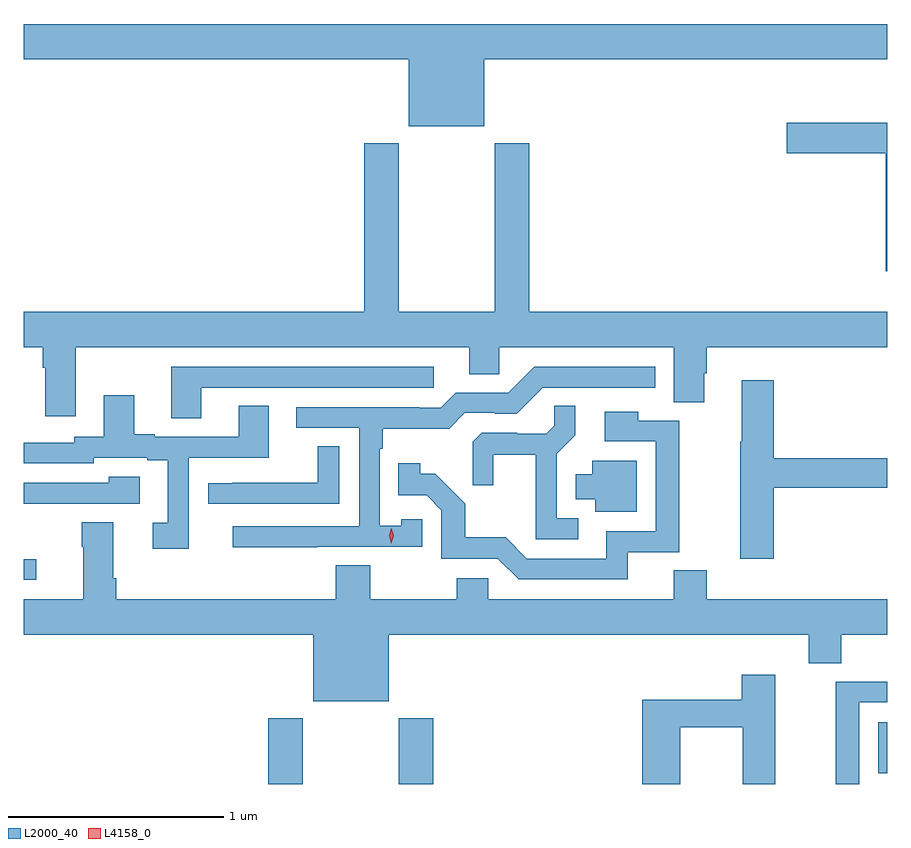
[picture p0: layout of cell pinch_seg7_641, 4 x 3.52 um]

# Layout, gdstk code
import gdstk
lib = gdstk.Library(unit=1e-6, precision=1e-09)
def R(c, l, rs):  # rectangles x0, y0, x1, y1
    for r in rs: c.add(gdstk.rectangle(r[:2], r[2:], *l))
def P(c, l, *ps):  # polygons
    for p in ps: c.add(gdstk.Polygon(p, *l))
L2000_40 = (2000, 40)
L4158_0 = (4158, 0)

pinch_seg7_641 = lib.new_cell('pinch_seg7_641')
R(pinch_seg7_641, L2000_40, [(195.125,1026.564,195.285,1026.868), (195.73,1026.564,195.89,1026.868), (197.951,1026.614,197.992,1026.85), (193.992,1027.509,194.05,1027.605)])
P(pinch_seg7_641, L2000_40, [(196.126,1029.92),(197.992,1029.92),(197.992,1030.084),(193.992,1030.084),(193.992,1029.92),(195.776,1029.92),(195.776,1029.611),(196.126,1029.611)],
  [(197.992,1029.627),(197.526,1029.627),(197.526,1029.485),(197.984,1029.485),(197.984,1028.939),(197.992,1028.939)],
  [(194.233,1028.588),(196.055,1028.588),(196.055,1028.461),(196.194,1028.461),(196.194,1028.588),(197.003,1028.588),(197.003,1028.332),(197.143,1028.332),(197.143,1028.466),(197.156,1028.466),(197.156,1028.588),(197.992,1028.588),(197.992,1028.752),(196.334,1028.752),(196.334,1029.532),(196.174,1029.532),(196.174,1028.752),(195.729,1028.752),(195.729,1029.532),(195.569,1029.532),(195.569,1028.752),(193.992,1028.752),(193.992,1028.588),(194.081,1028.588),(194.081,1028.492),(194.093,1028.492),(194.093,1028.268),(194.233,1028.268)],
  [(195.353,1027.662),(195.837,1027.662),(195.837,1027.791),(195.741,1027.791),(195.741,1027.759),(195.642,1027.759),(195.642,1028.117),(195.655,1028.117),(195.655,1028.21),(195.962,1028.21),(196.035,1028.283),(196.174,1028.283),(196.174,1028.28),(196.275,1028.28),(196.395,1028.4),(196.918,1028.4),(196.918,1028.496),(196.356,1028.496),(196.236,1028.376),(195.993,1028.376),(195.924,1028.307),(195.824,1028.307),(195.824,1028.31),(195.255,1028.31),(195.255,1028.214),(195.546,1028.214),(195.546,1027.758),(194.961,1027.758),(194.961,1027.66),(195.353,1027.66)],
  [(194.815,1028.4),(195.892,1028.4),(195.892,1028.496),(194.675,1028.496),(194.675,1028.257),(194.815,1028.257)],
  [(197.465,1027.936),(197.992,1027.936),(197.992,1028.072),(197.465,1028.072),(197.465,1028.434),(197.318,1028.434),(197.318,1028.149),(197.311,1028.149),(197.311,1027.608),(197.465,1027.608)],
  [(194.757,1028.076),(195.127,1028.076),(195.127,1028.315),(194.987,1028.315),(194.987,1028.172),(194.599,1028.172),(194.599,1028.185),(194.503,1028.185),(194.503,1028.365),(194.363,1028.365),(194.363,1028.172),(194.226,1028.172),(194.226,1028.145),(193.992,1028.145),(193.992,1028.049),(194.316,1028.049),(194.316,1028.076),(194.564,1028.076),(194.564,1028.064),(194.66,1028.064),(194.66,1027.773),(194.589,1027.773),(194.589,1027.653),(194.757,1027.653)],
  [(196.561,1027.794),(196.461,1027.794),(196.461,1028.093),(196.547,1028.179),(196.547,1028.315),(196.449,1028.315),(196.449,1028.224),(196.412,1028.187),(196.278,1028.187),(196.278,1028.19),(196.113,1028.19),(196.072,1028.149),(196.072,1027.947),(196.166,1027.947),(196.166,1028.09),(196.364,1028.09),(196.364,1027.698),(196.561,1027.698)],
  [(196.79,1027.638),(197.029,1027.638),(197.029,1028.247),(196.839,1028.247),(196.839,1028.287),(196.683,1028.287),(196.683,1028.151),(196.92,1028.151),(196.92,1027.734),(196.691,1027.734),(196.691,1027.608),(196.323,1027.608),(196.225,1027.707),(196.036,1027.707),(196.036,1027.862),(195.898,1028),(195.828,1028),(195.828,1028.05),(195.727,1028.05),(195.727,1027.902),(195.858,1027.902),(195.927,1027.833),(195.927,1027.608),(196.188,1027.608),(196.284,1027.512),(196.79,1027.512)],
  [(195.453,1028.129),(195.355,1028.129),(195.355,1027.959),(194.959,1027.959),(194.959,1027.958),(194.847,1027.958),(194.847,1027.863),(195.453,1027.863)],
  [(196.831,1028.062),(196.625,1028.062),(196.625,1027.999),(196.55,1027.999),(196.55,1027.883),(196.64,1027.883),(196.64,1027.826),(196.831,1027.826)],
  [(194.171,1027.863),(194.53,1027.863),(194.53,1027.987),(194.385,1027.987),(194.385,1027.959),(193.992,1027.959),(193.992,1027.861),(194.171,1027.861)],
  [(195.682,1027.256),(197.627,1027.256),(197.627,1027.123),(197.779,1027.123),(197.779,1027.256),(197.992,1027.256),(197.992,1027.42),(197.156,1027.42),(197.156,1027.553),(197.003,1027.553),(197.003,1027.42),(196.143,1027.42),(196.143,1027.518),(195.997,1027.518),(195.997,1027.42),(195.597,1027.42),(195.597,1027.577),(195.437,1027.577),(195.437,1027.42),(194.42,1027.42),(194.42,1027.516),(194.407,1027.516),(194.407,1027.777),(194.26,1027.777),(194.26,1027.664),(194.267,1027.664),(194.267,1027.42),(193.992,1027.42),(193.992,1027.256),(195.332,1027.256),(195.332,1026.947),(195.682,1026.947)],
  [(197.034,1026.826),(197.323,1026.826),(197.323,1026.564),(197.472,1026.564),(197.472,1027.069),(197.318,1027.069),(197.318,1026.955),(196.856,1026.955),(196.856,1026.564),(197.034,1026.564)],
  [(197.862,1026.942),(197.992,1026.942),(197.992,1027.038),(197.754,1027.038),(197.754,1026.564),(197.862,1026.564)])
P(pinch_seg7_641, L4158_0, [(195.695,1027.677),(195.695,1027.678),(195.685,1027.713),(195.695,1027.749),(195.695,1027.749),(195.695,1027.749),(195.705,1027.713),(195.695,1027.678)])

lib.write_gds('pinch_seg7_641.gds')
